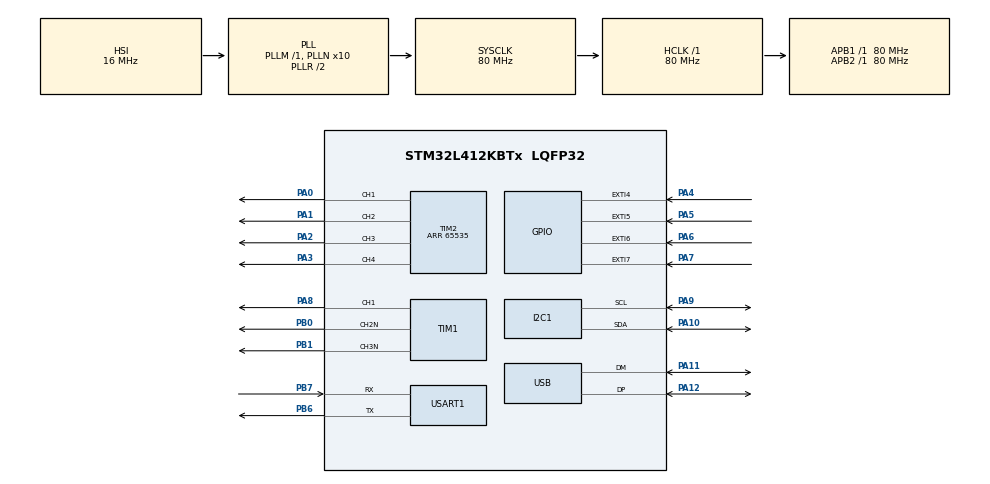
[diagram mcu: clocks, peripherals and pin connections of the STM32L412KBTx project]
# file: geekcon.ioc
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I2C1.Timing=0x10D19CE4
Mcu.Family=STM32L4
Mcu.Name=STM32L412KBTx
Mcu.Package=LQFP32
NVIC.EXTI4_IRQn=true\:0\:0\:false\:true\:true\:1\:true\:true\:true
NVIC.EXTI9_5_IRQn=true\:0\:0\:false\:true\:true\:2\:true\:true\:true
NVIC.PriorityGroup=NVIC_PRIORITYGROUP_4
NVIC.USART1_IRQn=true\:0\:0\:false\:false\:true\:true\:true\:true
PA0-CK_IN.Signal=S_TIM2_CH1
PA1.Signal=S_TIM2_CH2
PA10.Mode=I2C
PA10.Signal=I2C1_SDA
PA11.Mode=Device
PA11.Signal=USB_DM
PA12.Mode=Device
PA12.Signal=USB_DP
PA13\ (JTMS/SWDIO).Mode=Trace_Asynchronous_SW
PA13\ (JTMS/SWDIO).Signal=SYS_JTMS-SWDIO
PA14\ (JTCK/SWCLK).Mode=Trace_Asynchronous_SW
PA14\ (JTCK/SWCLK).Signal=SYS_JTCK-SWCLK
PA2.Signal=S_TIM2_CH3
PA3.Signal=S_TIM2_CH4
PA4.Signal=GPXTI4
PA5.Signal=GPXTI5
PA6.Signal=GPXTI6
PA7.Signal=GPXTI7
PA8.Signal=S_TIM1_CH1
PA9.Mode=I2C
PA9.Signal=I2C1_SCL
PB0.Mode=PWM Generation2 CH2N
PB0.Signal=TIM1_CH2N
PB1.Mode=PWM Generation3 CH3N
PB1.Signal=TIM1_CH3N
PB3\ (JTDO/TRACESWO).Mode=Trace_Asynchronous_SW
PB3\ (JTDO/TRACESWO).Signal=SYS_JTDO-SWO
PB6.Mode=Asynchronous
PB6.Signal=USART1_TX
PB7.Mode=Asynchronous
PB7.Signal=USART1_RX
ProjectManager.HeapSize=0x200
ProjectManager.StackSize=0x400
ProjectManager.TargetToolchain=CMake
RCC.ADCFreq_Value=80000000
RCC.AHBFreq_Value=80000000
RCC.APB1Freq_Value=80000000
RCC.APB1TimFreq_Value=80000000
RCC.APB2Freq_Value=80000000
RCC.APB2TimFreq_Value=80000000
RCC.CortexFreq_Value=80000000
RCC.HCLKFreq_Value=80000000
RCC.HSE_VALUE=8000000
RCC.HSI48_VALUE=48000000
RCC.HSI_VALUE=16000000
RCC.LSE_VALUE=32768
RCC.MSIClockRange=RCC_MSIRANGE_11
RCC.MSI_VALUE=48000000
RCC.PLLN=10
RCC.PLLSourceVirtual=RCC_PLLSOURCE_HSI
RCC.SYSCLKFreq_VALUE=80000000
RCC.SYSCLKSource=RCC_SYSCLKSOURCE_PLLCLK
RCC.USBFreq_Value=48000000
RCC.VCOOutputFreq_Value=160000000
SH.S_TIM1_CH1.0=TIM1_CH1,PWM Generation1 CH1
SH.S_TIM2_CH1.0=TIM2_CH1,PWM Generation1 CH1
SH.S_TIM2_CH2.0=TIM2_CH2,PWM Generation2 CH2
SH.S_TIM2_CH3.0=TIM2_CH3,PWM Generation3 CH3
SH.S_TIM2_CH4.0=TIM2_CH4,PWM Generation4 CH4
TIM1.AutomaticOutput=TIM_AUTOMATICOUTPUT_DISABLE
TIM1.Channel-PWM\ Generation1\ CH1=TIM_CHANNEL_1
TIM1.Channel-PWM\ Generation2\ CH2N=TIM_CHANNEL_2
TIM1.Channel-PWM\ Generation3\ CH3N=TIM_CHANNEL_3
TIM1.OCMode_PWM-PWM\ Generation3\ CH3N=TIM_OCMODE_PWM1
TIM1.OCNPolarity_3=TIM_OCNPOLARITY_HIGH
TIM2.Channel-PWM\ Generation1\ CH1=TIM_CHANNEL_1
TIM2.Channel-PWM\ Generation2\ CH2=TIM_CHANNEL_2
TIM2.Channel-PWM\ Generation3\ CH3=TIM_CHANNEL_3
TIM2.Channel-PWM\ Generation4\ CH4=TIM_CHANNEL_4
TIM2.Period=65535
USART1.VirtualMode-Asynchronous=VM_ASYNC
VP_TIM1_VS_ClockSourceINT.Mode=Internal
VP_TIM2_VS_ClockSourceINT.Mode=Internal
board=custom

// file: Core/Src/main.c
/* USER CODE BEGIN Header */
/**
  ******************************************************************************
  * @file           : main.c
  * @brief          : Main program body
  ******************************************************************************
  * @attention
  *
  * Copyright (c) 2025 STMicroelectronics.
  * All rights reserved.
  *
  * This software is licensed under terms that can be found in the LICENSE file
  * in the root directory of this software component.
  * If no LICENSE file comes with this software, it is provided AS-IS.
  *
  ******************************************************************************
  */
/* USER CODE END Header */
#include "main.h"

/* USER CODE BEGIN Includes */
#include "communication.h"
#include <string.h>
#include <stdlib.h>
/* USER CODE END Includes */

I2C_HandleTypeDef hi2c1;

TIM_HandleTypeDef htim1;
TIM_HandleTypeDef htim2;

UART_HandleTypeDef huart1;

PCD_HandleTypeDef hpcd_USB_FS;

/* USER CODE BEGIN PV */
uint8_t uart_rx_buffer[1];
volatile int32_t encoder1_count = 0;
volatile int32_t encoder2_count = 0;
volatile int32_t motor1_target_steps = 0;
volatile int32_t motor2_target_steps = 0;
volatile int32_t motor1_speed = 0;
volatile int32_t motor2_speed = 0;
RobotMode g_robot_mode = MODE_STOP;

/* USER CODE END PV */

void SystemClock_Config(void);
static void MX_GPIO_Init(void);
static void MX_I2C1_Init(void);
static void MX_TIM1_Init(void);
static void MX_TIM2_Init(void);
static void MX_USART1_UART_Init(void);
static void MX_USB_PCD_Init(void);
static void MX_NVIC_Init(void);

int main(void)
{

  /* MCU Configuration--------------------------------------------------------*/

  /* Reset of all peripherals, Initializes the Flash interface and the Systick. */
  HAL_Init();

  /* Configure the system clock */
  SystemClock_Config();

  /* Initialize all configured peripherals */
  MX_GPIO_Init();
  MX_I2C1_Init();
  MX_TIM1_Init();
  MX_TIM2_Init();
  MX_USART1_UART_Init();
  MX_USB_PCD_Init();

  /* Initialize interrupts */
  MX_NVIC_Init();
  /* USER CODE BEGIN 2 */
  Communication_Init(&huart1);
  HAL_UART_Receive_IT(&huart1, uart_rx_buffer, 1);
  HAL_TIM_PWM_Start(&htim2, TIM_CHANNEL_1);
  HAL_TIM_PWM_Start(&htim2, TIM_CHANNEL_2);
  HAL_TIM_PWM_Start(&htim2, TIM_CHANNEL_3);
  HAL_TIM_PWM_Start(&htim2, TIM_CHANNEL_4);
  /* USER CODE END 2 */

  /* Infinite loop */
  while (1)
  {

    /* USER CODE BEGIN 3 */
    App_Update_Motors();
    HAL_Delay(10);
    // App_Set_Motors(500, 500);
    // HAL_Delay(2000);
    // App_Set_Motors(-500, -500);
    // HAL_Delay(2000);
  }
  /* USER CODE END 3 */
}

void SystemClock_Config(void)
{
  RCC_OscInitTypeDef RCC_OscInitStruct = {0};
  RCC_ClkInitTypeDef RCC_ClkInitStruct = {0};

  /** Configure the main internal regulator output voltage
  */
  if (HAL_PWREx_ControlVoltageScaling(PWR_REGULATOR_VOLTAGE_SCALE1) != HAL_OK)
  {
    Error_Handler();
  }

  /** Initializes the RCC Oscillators according to the specified parameters
  * in the RCC_OscInitTypeDef structure.
  */
  RCC_OscInitStruct.OscillatorType = RCC_OSCILLATORTYPE_HSI|RCC_OSCILLATORTYPE_MSI;
  RCC_OscInitStruct.HSIState = RCC_HSI_ON;
  RCC_OscInitStruct.HSICalibrationValue = RCC_HSICALIBRATION_DEFAULT;
  RCC_OscInitStruct.MSIState = RCC_MSI_ON;
  RCC_OscInitStruct.MSICalibrationValue = 0;
  RCC_OscInitStruct.MSIClockRange = RCC_MSIRANGE_11;
  RCC_OscInitStruct.PLL.PLLState = RCC_PLL_ON;
  RCC_OscInitStruct.PLL.PLLSource = RCC_PLLSOURCE_HSI;
  RCC_OscInitStruct.PLL.PLLM = 1;
  RCC_OscInitStruct.PLL.PLLN = 10;
  RCC_OscInitStruct.PLL.PLLQ = RCC_PLLQ_DIV2;
  RCC_OscInitStruct.PLL.PLLR = RCC_PLLR_DIV2;
  if (HAL_RCC_OscConfig(&RCC_OscInitStruct) != HAL_OK)
  {
    Error_Handler();
  }

  /** Initializes the CPU, AHB and APB buses clocks
  */
  RCC_ClkInitStruct.ClockType = RCC_CLOCKTYPE_HCLK|RCC_CLOCKTYPE_SYSCLK
                              |RCC_CLOCKTYPE_PCLK1|RCC_CLOCKTYPE_PCLK2;
  RCC_ClkInitStruct.SYSCLKSource = RCC_SYSCLKSOURCE_PLLCLK;
  RCC_ClkInitStruct.AHBCLKDivider = RCC_SYSCLK_DIV1;
  RCC_ClkInitStruct.APB1CLKDivider = RCC_HCLK_DIV1;
  RCC_ClkInitStruct.APB2CLKDivider = RCC_HCLK_DIV1;

  if (HAL_RCC_ClockConfig(&RCC_ClkInitStruct, FLASH_LATENCY_4) != HAL_OK)
  {
    Error_Handler();
  }
}

/**
  * @brief NVIC Configuration.
  * @retval None
  */
static void MX_NVIC_Init(void)
{
  /* EXTI4_IRQn interrupt configuration */
  HAL_NVIC_SetPriority(EXTI4_IRQn, 0, 0);
  HAL_NVIC_EnableIRQ(EXTI4_IRQn);
  /* EXTI9_5_IRQn interrupt configuration */
  HAL_NVIC_SetPriority(EXTI9_5_IRQn, 0, 0);
  HAL_NVIC_EnableIRQ(EXTI9_5_IRQn);
}

static void MX_I2C1_Init(void)
{

  hi2c1.Instance = I2C1;
  hi2c1.Init.Timing = 0x10D19CE4;
  hi2c1.Init.OwnAddress1 = 0;
  hi2c1.Init.AddressingMode = I2C_ADDRESSINGMODE_7BIT;
  hi2c1.Init.DualAddressMode = I2C_DUALADDRESS_DISABLE;
  hi2c1.Init.OwnAddress2 = 0;
  hi2c1.Init.OwnAddress2Masks = I2C_OA2_NOMASK;
  hi2c1.Init.GeneralCallMode = I2C_GENERALCALL_DISABLE;
  hi2c1.Init.NoStretchMode = I2C_NOSTRETCH_DISABLE;
  if (HAL_I2C_Init(&hi2c1) != HAL_OK)
  {
    Error_Handler();
  }

  /** Configure Analogue filter
  */
  if (HAL_I2CEx_ConfigAnalogFilter(&hi2c1, I2C_ANALOGFILTER_ENABLE) != HAL_OK)
  {
    Error_Handler();
  }

  /** Configure Digital filter
  */
  if (HAL_I2CEx_ConfigDigitalFilter(&hi2c1, 0) != HAL_OK)
  {
    Error_Handler();
  }

}

static void MX_TIM1_Init(void)
{

  TIM_ClockConfigTypeDef sClockSourceConfig = {0};
  TIM_MasterConfigTypeDef sMasterConfig = {0};
  TIM_OC_InitTypeDef sConfigOC = {0};
  TIM_BreakDeadTimeConfigTypeDef sBreakDeadTimeConfig = {0};

  htim1.Instance = TIM1;
  htim1.Init.Prescaler = 0;
  htim1.Init.CounterMode = TIM_COUNTERMODE_UP;
  htim1.Init.Period = 65535;
  htim1.Init.ClockDivision = TIM_CLOCKDIVISION_DIV1;
  htim1.Init.RepetitionCounter = 0;
  htim1.Init.AutoReloadPreload = TIM_AUTORELOAD_PRELOAD_DISABLE;
  if (HAL_TIM_Base_Init(&htim1) != HAL_OK)
  {
    Error_Handler();
  }
  sClockSourceConfig.ClockSource = TIM_CLOCKSOURCE_INTERNAL;
  if (HAL_TIM_ConfigClockSource(&htim1, &sClockSourceConfig) != HAL_OK)
  {
    Error_Handler();
  }
  if (HAL_TIM_PWM_Init(&htim1) != HAL_OK)
  {
    Error_Handler();
  }
  sMasterConfig.MasterOutputTrigger = TIM_TRGO_RESET;
  sMasterConfig.MasterOutputTrigger2 = TIM_TRGO2_RESET;
  sMasterConfig.MasterSlaveMode = TIM_MASTERSLAVEMODE_DISABLE;
  if (HAL_TIMEx_MasterConfigSynchronization(&htim1, &sMasterConfig) != HAL_OK)
  {
    Error_Handler();
  }
  sConfigOC.OCMode = TIM_OCMODE_PWM1;
  sConfigOC.Pulse = 0;
  sConfigOC.OCPolarity = TIM_OCPOLARITY_HIGH;
  sConfigOC.OCNPolarity = TIM_OCNPOLARITY_HIGH;
  sConfigOC.OCFastMode = TIM_OCFAST_DISABLE;
  sConfigOC.OCIdleState = TIM_OCIDLESTATE_RESET;
  sConfigOC.OCNIdleState = TIM_OCNIDLESTATE_RESET;
  if (HAL_TIM_PWM_ConfigChannel(&htim1, &sConfigOC, TIM_CHANNEL_1) != HAL_OK)
  {
    Error_Handler();
  }
  if (HAL_TIM_PWM_ConfigChannel(&htim1, &sConfigOC, TIM_CHANNEL_2) != HAL_OK)
  {
    Error_Handler();
  }
  if (HAL_TIM_PWM_ConfigChannel(&htim1, &sConfigOC, TIM_CHANNEL_3) != HAL_OK)
  {
    Error_Handler();
  }
  sBreakDeadTimeConfig.OffStateRunMode = TIM_OSSR_DISABLE;
  sBreakDeadTimeConfig.OffStateIDLEMode = TIM_OSSI_DISABLE;
  sBreakDeadTimeConfig.LockLevel = TIM_LOCKLEVEL_OFF;
  sBreakDeadTimeConfig.DeadTime = 0;
  sBreakDeadTimeConfig.BreakState = TIM_BREAK_DISABLE;
  sBreakDeadTimeConfig.BreakPolarity = TIM_BREAKPOLARITY_HIGH;
  sBreakDeadTimeConfig.BreakFilter = 0;
  sBreakDeadTimeConfig.Break2State = TIM_BREAK2_DISABLE;
  sBreakDeadTimeConfig.Break2Polarity = TIM_BREAK2POLARITY_HIGH;
  sBreakDeadTimeConfig.Break2Filter = 0;
  sBreakDeadTimeConfig.AutomaticOutput = TIM_AUTOMATICOUTPUT_DISABLE;
  if (HAL_TIMEx_ConfigBreakDeadTime(&htim1, &sBreakDeadTimeConfig) != HAL_OK)
  {
    Error_Handler();
  }
  HAL_TIM_MspPostInit(&htim1);

}

static void MX_TIM2_Init(void)
{

  TIM_ClockConfigTypeDef sClockSourceConfig = {0};
  TIM_MasterConfigTypeDef sMasterConfig = {0};
  TIM_OC_InitTypeDef sConfigOC = {0};

  htim2.Instance = TIM2;
  htim2.Init.Prescaler = 0;
  htim2.Init.CounterMode = TIM_COUNTERMODE_UP;
  htim2.Init.Period = 65535;
  htim2.Init.ClockDivision = TIM_CLOCKDIVISION_DIV1;
  htim2.Init.AutoReloadPreload = TIM_AUTORELOAD_PRELOAD_DISABLE;
  if (HAL_TIM_Base_Init(&htim2) != HAL_OK)
  {
    Error_Handler();
  }
  sClockSourceConfig.ClockSource = TIM_CLOCKSOURCE_INTERNAL;
  if (HAL_TIM_ConfigClockSource(&htim2, &sClockSourceConfig) != HAL_OK)
  {
    Error_Handler();
  }
  if (HAL_TIM_PWM_Init(&htim2) != HAL_OK)
  {
    Error_Handler();
  }
  sMasterConfig.MasterOutputTrigger = TIM_TRGO_RESET;
  sMasterConfig.MasterSlaveMode = TIM_MASTERSLAVEMODE_DISABLE;
  if (HAL_TIMEx_MasterConfigSynchronization(&htim2, &sMasterConfig) != HAL_OK)
  {
    Error_Handler();
  }
  sConfigOC.OCMode = TIM_OCMODE_PWM1;
  sConfigOC.Pulse = 0;
  sConfigOC.OCPolarity = TIM_OCPOLARITY_HIGH;
  sConfigOC.OCFastMode = TIM_OCFAST_DISABLE;
  if (HAL_TIM_PWM_ConfigChannel(&htim2, &sConfigOC, TIM_CHANNEL_1) != HAL_OK)
  {
    Error_Handler();
  }
  if (HAL_TIM_PWM_ConfigChannel(&htim2, &sConfigOC, TIM_CHANNEL_2) != HAL_OK)
  {
    Error_Handler();
  }
  if (HAL_TIM_PWM_ConfigChannel(&htim2, &sConfigOC, TIM_CHANNEL_3) != HAL_OK)
  {
    Error_Handler();
  }
  if (HAL_TIM_PWM_ConfigChannel(&htim2, &sConfigOC, TIM_CHANNEL_4) != HAL_OK)
  {
    Error_Handler();
  }
  HAL_TIM_MspPostInit(&htim2);

}

static void MX_USART1_UART_Init(void)
{

  huart1.Instance = USART1;
  huart1.Init.BaudRate = 115200;
  huart1.Init.WordLength = UART_WORDLENGTH_8B;
  huart1.Init.StopBits = UART_STOPBITS_1;
  huart1.Init.Parity = UART_PARITY_NONE;
  huart1.Init.Mode = UART_MODE_TX_RX;
  huart1.Init.HwFlowCtl = UART_HWCONTROL_NONE;
  huart1.Init.OverSampling = UART_OVERSAMPLING_16;
  huart1.Init.OneBitSampling = UART_ONE_BIT_SAMPLE_DISABLE;
  huart1.AdvancedInit.AdvFeatureInit = UART_ADVFEATURE_NO_INIT;
  if (HAL_UART_Init(&huart1) != HAL_OK)
  {
    Error_Handler();
  }

}

static void MX_USB_PCD_Init(void)
{

  hpcd_USB_FS.Instance = USB;
  hpcd_USB_FS.Init.dev_endpoints = 8;
  hpcd_USB_FS.Init.speed = PCD_SPEED_FULL;
  hpcd_USB_FS.Init.phy_itface = PCD_PHY_EMBEDDED;
  hpcd_USB_FS.Init.Sof_enable = DISABLE;
  hpcd_USB_FS.Init.low_power_enable = DISABLE;
  hpcd_USB_FS.Init.lpm_enable = DISABLE;
  hpcd_USB_FS.Init.battery_charging_enable = DISABLE;
  if (HAL_PCD_Init(&hpcd_USB_FS) != HAL_OK)
  {
    Error_Handler();
  }

}

static void MX_GPIO_Init(void)
{
  GPIO_InitTypeDef GPIO_InitStruct = {0};

  /* GPIO Ports Clock Enable */
  __HAL_RCC_GPIOA_CLK_ENABLE();
  __HAL_RCC_GPIOB_CLK_ENABLE();

  /*Configure GPIO pins : PA4 PA5 PA6 PA7 */
  GPIO_InitStruct.Pin = GPIO_PIN_4|GPIO_PIN_5|GPIO_PIN_6|GPIO_PIN_7;
  GPIO_InitStruct.Mode = GPIO_MODE_IT_RISING;
  GPIO_InitStruct.Pull = GPIO_NOPULL;
  HAL_GPIO_Init(GPIOA, &GPIO_InitStruct);

}

/* USER CODE BEGIN 4 */
RobotMode App_Get_Mode(void)
{
  return g_robot_mode;
}

void HAL_GPIO_EXTI_Callback(uint16_t GPIO_Pin)
{
  if (GPIO_Pin == GPIO_PIN_4)
  {
    if (motor2_speed > 0)
    {
      encoder2_count++;
    }
    else if (motor2_speed < 0)
    {
      encoder2_count--;
    }

  }
  else if (GPIO_Pin == GPIO_PIN_6)
  {
    if (motor1_speed > 0)
    {
      encoder1_count++;
    }
    else if (motor1_speed < 0)
    {
      encoder1_count--;
    }  }
}

void HAL_UART_RxCpltCallback(UART_HandleTypeDef *huart)
{
  if (huart->Instance == USART1)
  {
    Communication_Handle_Rx(uart_rx_buffer, 1);
    HAL_UART_Receive_IT(&huart1, uart_rx_buffer, 1);
  }
}

void App_Set_Motors(int16_t motor1, int16_t motor2)
{
  if (g_robot_mode != MODE_STEP) {
    if (motor1 == 0 && motor2 == 0) {
      g_robot_mode = MODE_STOP;
    } else {
      g_robot_mode = MODE_SPEED;
    }
  }

  if (motor1 > 1000) motor1 = 1000;
  if (motor1 < -1000) motor1 = -1000;
  if (motor2 > 1000) motor2 = 1000;
  if (motor2 < -1000) motor2 = -1000;
  motor1_speed=motor1;
  motor2_speed=motor2;

  if (motor1 > 0)
  {
    __HAL_TIM_SET_COMPARE(&htim2, TIM_CHANNEL_1, motor1 * 65535 / 1000);
    __HAL_TIM_SET_COMPARE(&htim2, TIM_CHANNEL_2, 0);
  }
  else
  {
    __HAL_TIM_SET_COMPARE(&htim2, TIM_CHANNEL_1, 0);
    __HAL_TIM_SET_COMPARE(&htim2, TIM_CHANNEL_2, -motor1 * 65535 / 1000);
  }

  if (motor2 > 0)
  {
    __HAL_TIM_SET_COMPARE(&htim2, TIM_CHANNEL_3, motor2 * 65535 / 1000);
    __HAL_TIM_SET_COMPARE(&htim2, TIM_CHANNEL_4, 0);
  }
  else
  {
    __HAL_TIM_SET_COMPARE(&htim2, TIM_CHANNEL_3, 0);
    __HAL_TIM_SET_COMPARE(&htim2, TIM_CHANNEL_4, -motor2 * 65535 / 1000);
  }
}

void App_Get_Encoders(int32_t* encoder1, int32_t* encoder2)
{
  *encoder1 = encoder1_count;
  *encoder2 = encoder2_count;
}

void App_Reset_Encoders(void)
{

  motor1_target_steps = 0;
  motor2_target_steps = 0;
  encoder1_count = 0;
  encoder2_count = 0;
}

void App_Update_Motors(void)
{
  if (g_robot_mode == MODE_STEP)
  {
    int32_t current_steps1, current_steps2;
    App_Get_Encoders(&current_steps1, &current_steps2);

    int motor1_finished = 0;
    motor1_speed = 0;
    if (motor1_target_steps > 0 && current_steps1 < motor1_target_steps) {
        motor1_speed = 500;
    } else if (motor1_target_steps < 0 && current_steps1 > motor1_target_steps) {
        motor1_speed = -500;
    } else {
        motor1_target_steps = 0;
        motor1_finished = 1;
    }

    int motor2_finished = 0;
    motor2_speed = 0;
    if (motor2_target_steps > 0 && current_steps2 < motor2_target_steps) {
        motor2_speed = 500;
    } else if (motor2_target_steps < 0 && current_steps2 > motor2_target_steps) {
        motor2_speed = -500;
    } else {
        motor2_target_steps = 0;
        motor2_finished = 1;
    }

    if (motor1_finished && motor2_finished) {
        g_robot_mode = MODE_STOP;
    }

    App_Set_Motors(motor1_speed, motor2_speed);
  } else if (g_robot_mode == MODE_STOP) {
    App_Set_Motors(0, 0);
  }

}

void App_Move_Steps(int32_t motor1_steps, int32_t motor2_steps)
{
  // This function is non-blocking. It sets the target steps and initial motor speeds,
  // but the actual motor control is handled by App_Update_Motors() in the main loop.
  g_robot_mode = MODE_STEP;
  App_Reset_Encoders();
  motor1_target_steps = motor1_steps;
  motor2_target_steps = motor2_steps;

  int16_t motor1_speed = 0;
  if (motor1_steps > 0) motor1_speed = 500;
  if (motor1_steps < 0) motor1_speed = -500;

  int16_t motor2_speed = 0;
  if (motor2_steps > 0) motor2_speed = 500;
  if (motor2_steps < 0) motor2_speed = -500;

  App_Set_Motors(motor1_speed, motor2_speed);
}
/* USER CODE END 4 */

void Error_Handler(void)
{
  __disable_irq();
  while (1)
  {
  }
}
